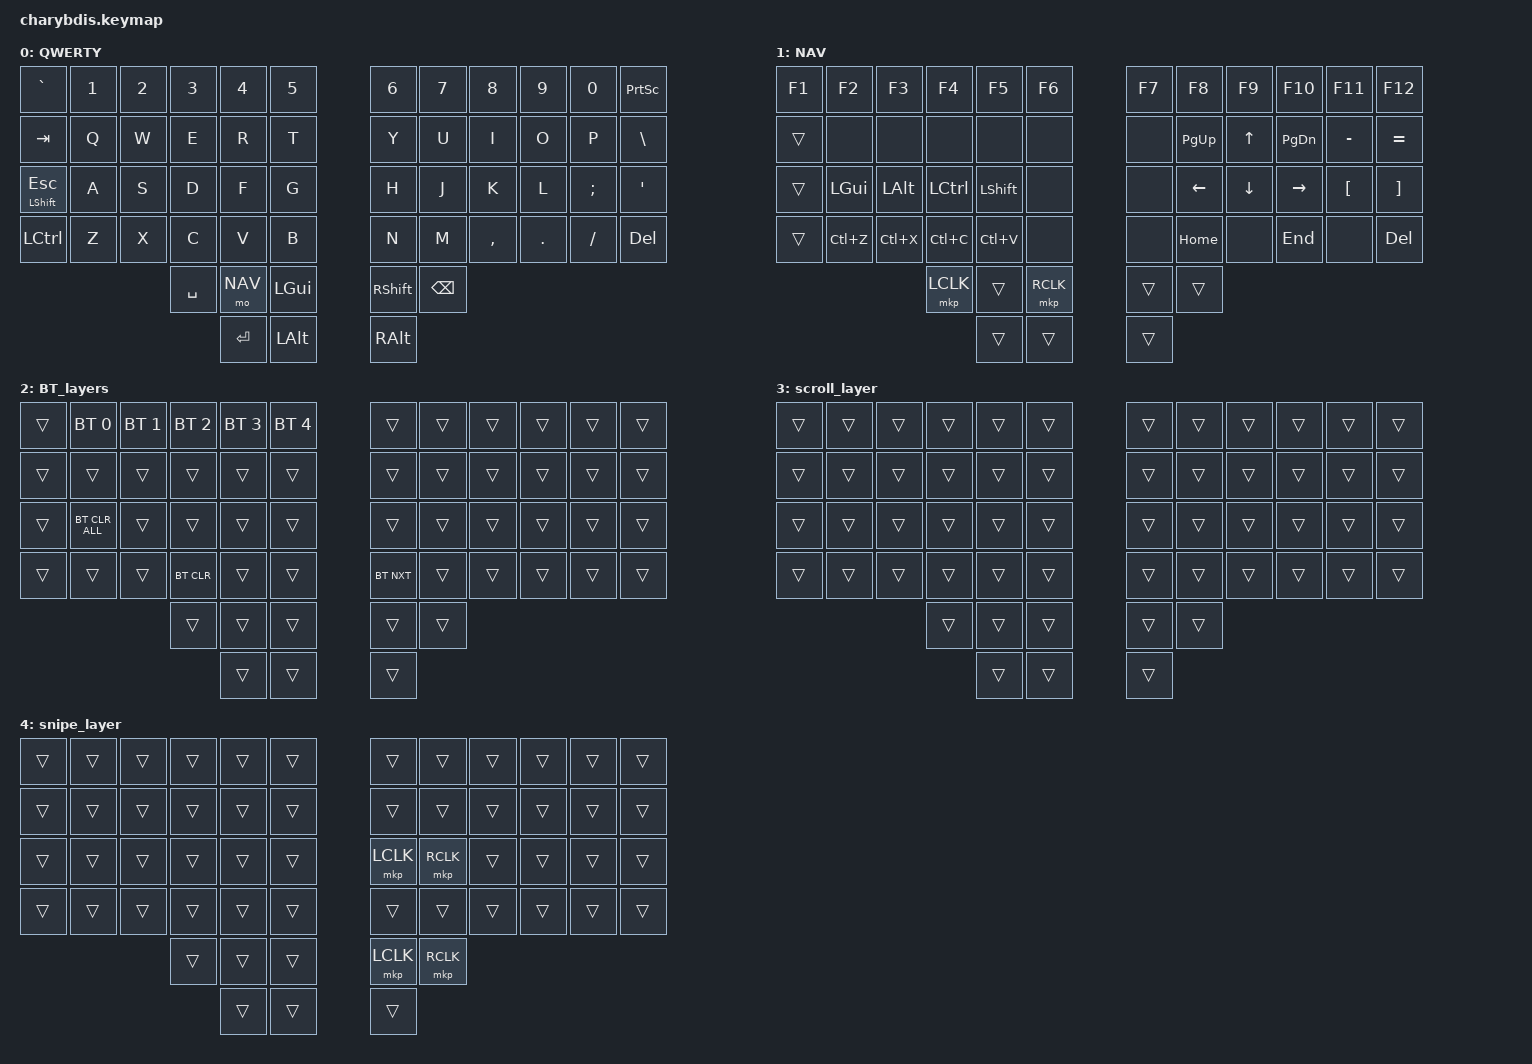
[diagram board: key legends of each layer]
#include <behaviors.dtsi>
#include <dt-bindings/zmk/bt.h>
#include <dt-bindings/zmk/keys.h>
#include <dt-bindings/zmk/pointing.h>

// Layer definitions for readability

#define BASE   0
#define NAV    1
#define BT     2
#define SCROLL 3
#define SNIPE  4

// Configure layer-tap behavior

&lt {
    tapping-term-ms = <200>;
    flavor = "balanced";
    quick-tap-ms = <150>;
};

// Configure mod-tap behavior (used for Ctrl/Esc and Shift/Backspace)

&mt {
    tapping-term-ms = <200>;
    flavor = "balanced";
    quick-tap-ms = <150>;
};

/ {
    combos {
        compatible = "zmk,combos";

        // ============================================================
        // MOUSE CLICKS — left home row (point with right trackball,
        //                                click with left hand)
        // ============================================================
        // Left click: I + E in BÉPO (D + F in QWERTY)

        combo_lclick {
            timeout-ms = <40>;
            key-positions = <27 28>;
            bindings = <&mkp LCLK>;
            layers = <BASE NAV SCROLL SNIPE>;
        };

        // Right click: U + I in BÉPO (S + D in QWERTY)

        combo_rclick {
            timeout-ms = <40>;
            key-positions = <26 27>;
            bindings = <&mkp RCLK>;
            layers = <BASE NAV SCROLL SNIPE>;
        };

        // Middle click: U + I + E in BÉPO (S + D + F in QWERTY)

        combo_mclick {
            timeout-ms = <40>;
            key-positions = <26 27 28>;
            bindings = <&mkp MCLK>;
            layers = <BASE NAV SCROLL SNIPE>;
        };

        // ============================================================
        // TRACKBALL MODES — hold combo to activate, release to return
        // ============================================================
        // Scroll mode: E + , in BÉPO (F + G in QWERTY)

        combo_scroll {
            timeout-ms = <50>;
            key-positions = <16 15>;
            bindings = <&mo SCROLL>;
            layers = <BASE>;
        };

        // Snipe mode: A + U in BÉPO (A + S in QWERTY)

        combo_snipe {
            timeout-ms = <50>;
            key-positions = <25 26>;
            bindings = <&mo SNIPE>;
            layers = <BASE>;
        };

        // ============================================================
        // UTILITY COMBOS
        // ============================================================
        // BT layer: outer left pinky column (Ctrl/Esc + LShift)
        // Rarely used — buried on purpose

        combo_bt {
            timeout-ms = <40>;
            key-positions = <24 36>;
            bindings = <&mo BT>;
            layers = <BASE>;
        };

        // CapsLock: both shift positions simultaneously

        combo_capslock {
            timeout-ms = <50>;
            key-positions = <36 51>;
            bindings = <&kp CAPSLOCK>;
            layers = <BASE>;
        };
    };

    keymap {
        compatible = "zmk,keymap";

        // =================================================================
        // LAYER 0: BASE (QWERTY keycodes, interpreted as BÉPO by Ubuntu)
        //
        // BÉPO:  ESC  "   «   »   (   )      @   +   -   /   *  PRTSC
        //        TAB  B   É   P   O   È      ^   V   D   L   J   Z
        //  Ctrl/Esc A  U   I   E   ,          C   T   S   R   N   M
        //       LSh  À   Y   X   .   K       '   Q   G   H   F  DEL
        //                SPC mo1 LCtrl    Sh/BkSp Enter
        //                    LWin RAlt     BkSp
        // =================================================================

        QWERTY {
            bindings = <
&kp GRAVE              &kp N1  &kp N2  &kp N3     &kp N4     &kp N5          &kp N6         &kp N7         &kp N8     &kp N9   &kp N0    &kp PRINTSCREEN
&kp TAB                &kp Q   &kp W   &kp E      &kp R      &kp T           &kp Y          &kp U          &kp I      &kp O    &kp P     &kp BSLH
&mt LEFT_SHIFT ESCAPE  &kp A   &kp S   &kp D      &kp F      &kp G           &kp H          &kp J          &kp K      &kp L    &kp SEMI  &kp SQT
&kp LEFT_CONTROL       &kp Z   &kp X   &kp C      &kp V      &kp B           &kp N          &kp M          &kp COMMA  &kp DOT  &kp FSLH  &kp DELETE
                                       &kp SPACE  &mo NAV    &kp LEFT_GUI    &kp RSHIFT     &kp BACKSPACE
                                                  &kp ENTER  &kp LEFT_ALT    &kp RIGHT_ALT
            >;
        };

        // =================================================================
        // LAYER 1: NAV + MODIFIERS (hold left thumb MO key)
        //
        // Left hand = modifiers + shortcuts (combine with right hand nav)
        //   Home row: GUI, ALT, CTRL, SHIFT
        //   Bottom:   Undo, Cut, Copy, Paste
        //
        // Right hand = navigation
        //   Arrow keys, PgUp/PgDn, Home/End
        //
        // Examples from home position:
        //   Ctrl+Right = jump word    |  Shift+Right = select right
        //   Ctrl+Shift+Left = select word left
        //   Ctrl+A = select all       |  Ctrl+Z = undo
        // =================================================================

        NAV {
            bindings = <
&kp F1  &kp F2     &kp F3     &kp F4     &kp F5      &kp F6       &kp F7  &kp F8          &kp F9          &kp F10          &kp F11           &kp F12
&trans  &none      &none      &none      &none       &none        &none   &kp PAGE_UP     &kp UP_ARROW    &kp PAGE_DOWN    &kp MINUS         &kp EQUAL
&trans  &kp LGUI   &kp LALT   &kp LCTRL  &kp LSHIFT  &none        &none   &kp LEFT_ARROW  &kp DOWN_ARROW  &kp RIGHT_ARROW  &kp LEFT_BRACKET  &kp RIGHT_BRACKET
&trans  &kp LC(Z)  &kp LC(X)  &kp LC(C)  &kp LC(V)   &none        &none   &kp HOME        &none           &kp END          &none             &kp DELETE
                              &mkp LCLK  &trans      &mkp RCLK    &trans  &trans
                                         &trans      &trans       &trans
            >;
        };

        // =================================================================
        // LAYER 2: BLUETOOTH (accessed via combo: Ctrl/Esc + LShift)
        // =================================================================

        BT_layers {
            bindings = <
&trans  &bt BT_SEL 0    &bt BT_SEL 1  &bt BT_SEL 2  &bt BT_SEL 3  &bt BT_SEL 4    &trans      &trans  &trans  &trans  &trans  &trans
&trans  &trans          &trans        &trans        &trans        &trans          &trans      &trans  &trans  &trans  &trans  &trans
&trans  &bt BT_CLR_ALL  &trans        &trans        &trans        &trans          &trans      &trans  &trans  &trans  &trans  &trans
&trans  &trans          &trans        &bt BT_CLR    &trans        &trans          &bt BT_NXT  &trans  &trans  &trans  &trans  &trans
                                      &trans        &trans        &trans          &trans      &trans
                                                    &trans        &trans          &trans
            >;
        };

        // =================================================================
        // LAYER 3: SCROLL (trackball becomes scroll wheel)
        // Accessed via combo: E + , in BÉPO (F + G in QWERTY)
        // Hold the combo, scroll with trackball, release to return
        // =================================================================

        scroll_layer {
            bindings = <
&trans  &trans  &trans  &trans  &trans  &trans    &trans  &trans  &trans  &trans  &trans  &trans
&trans  &trans  &trans  &trans  &trans  &trans    &trans  &trans  &trans  &trans  &trans  &trans
&trans  &trans  &trans  &trans  &trans  &trans    &trans  &trans  &trans  &trans  &trans  &trans
&trans  &trans  &trans  &trans  &trans  &trans    &trans  &trans  &trans  &trans  &trans  &trans
                        &trans  &trans  &trans    &trans  &trans
                                &trans  &trans    &trans
            >;
        };

        // =================================================================
        // LAYER 4: SNIPE (trackball moves at reduced DPI for precision)
        // Accessed via combo: A + U in BÉPO (A + S in QWERTY)
        // Hold the combo, fine-point with trackball, click via combos
        // =================================================================

        snipe_layer {
            bindings = <
&trans  &trans  &trans  &trans  &trans  &trans    &trans     &trans     &trans  &trans  &trans  &trans
&trans  &trans  &trans  &trans  &trans  &trans    &trans     &trans     &trans  &trans  &trans  &trans
&trans  &trans  &trans  &trans  &trans  &trans    &mkp LCLK  &mkp RCLK  &trans  &trans  &trans  &trans
&trans  &trans  &trans  &trans  &trans  &trans    &trans     &trans     &trans  &trans  &trans  &trans
                        &trans  &trans  &trans    &mkp LCLK  &mkp RCLK
                                &trans  &trans    &trans
            >;
        };
    };
};
